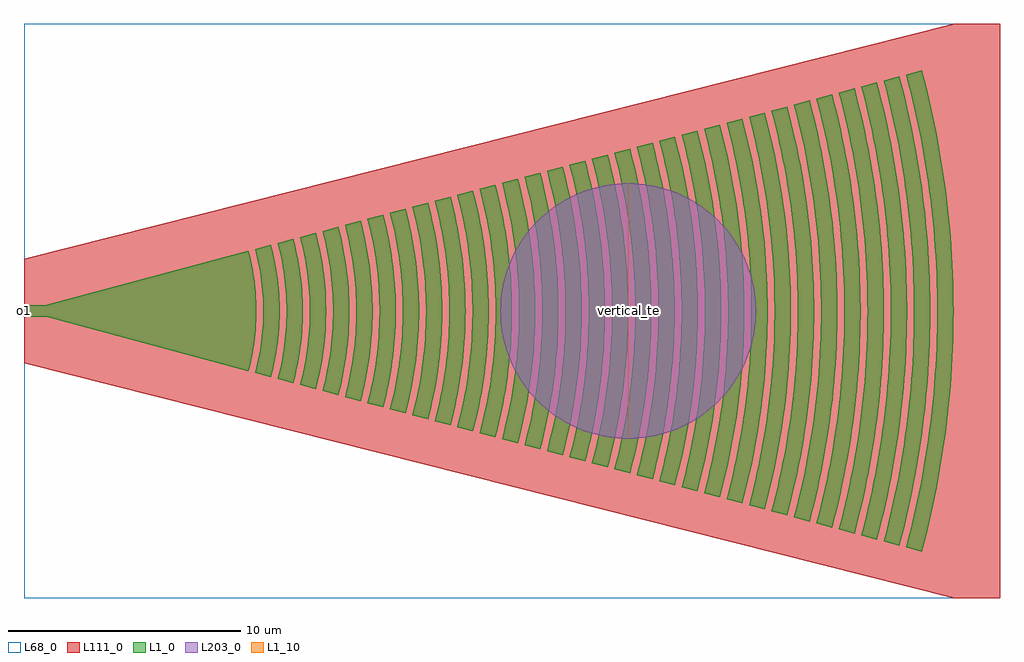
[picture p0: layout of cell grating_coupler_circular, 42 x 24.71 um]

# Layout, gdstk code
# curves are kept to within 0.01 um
import gdstk
lib = gdstk.Library(unit=1e-6, precision=1e-09)
def R(c, l, rs):  # rectangles x0, y0, x1, y1
    for r in rs: c.add(gdstk.rectangle(r[:2], r[2:], *l))
def P(c, l, *ps):  # polygons
    for p in ps: c.add(gdstk.Polygon(p, *l))
L1_0 = (1, 0)
L1_10 = (1, 10)
L68_0 = (68, 0)
L111_0 = (111, 0)
L203_0 = (203, 0)

circle_b065b65f = lib.new_cell('circle_b065b65f')
P(circle_b065b65f, L203_0, [(5.5,0),(5.495,0.24),(5.453,0.718),(5.37,1.19),(5.245,1.654),(5.081,2.105),(4.879,2.54),(4.639,2.955),(4.505,3.155),(4.213,3.535),(3.889,3.889),(3.535,4.213),(3.155,4.505),(2.955,4.639),(2.54,4.879),(2.105,5.081),(1.654,5.245),(1.19,5.37),(0.718,5.453),(0.24,5.495),(0,5.5),(-0.24,5.495),(-0.718,5.453),(-1.19,5.37),(-1.654,5.245),(-2.105,5.081),(-2.54,4.879),(-2.955,4.639),(-3.155,4.505),(-3.535,4.213),(-3.889,3.889),(-4.213,3.535),(-4.505,3.155),(-4.639,2.955),(-4.879,2.54),(-5.081,2.105),(-5.245,1.654),(-5.37,1.19),(-5.453,0.718),(-5.495,0.24),(-5.5,0),(-5.495,-0.24),(-5.453,-0.718),(-5.37,-1.19),(-5.245,-1.654),(-5.081,-2.105),(-4.879,-2.54),(-4.639,-2.955),(-4.505,-3.155),(-4.213,-3.535),(-3.889,-3.889),(-3.535,-4.213),(-3.155,-4.505),(-2.955,-4.639),(-2.54,-4.879),(-2.105,-5.081),(-1.654,-5.245),(-1.19,-5.37),(-0.718,-5.453),(-0.24,-5.495),(0,-5.5),(0.24,-5.495),(0.718,-5.453),(1.19,-5.37),(1.654,-5.245),(2.105,-5.081),(2.54,-4.879),(2.955,-4.639),(3.155,-4.505),(3.535,-4.213),(3.889,-3.889),(4.213,-3.535),(4.505,-3.155),(4.639,-2.955),(4.879,-2.54),(5.081,-2.105),(5.245,-1.654),(5.37,-1.19),(5.453,-0.718),(5.495,-0.24)])

grating_coupler_circular = lib.new_cell('grating_coupler_circular')
R(grating_coupler_circular, L1_0, [(0,-0.25,1.033,0.25)])
P(grating_coupler_circular, L1_0, [(10.625,-2.847),(10.773,-2.224),(10.913,-1.383),(10.975,-0.746),(10.999,-0.107),(10.975,0.746),(10.913,1.383),(10.773,2.224),(10.625,2.847),(9.949,2.666),(10.087,2.083),(10.191,1.493),(10.261,0.898),(10.3,0.1),(10.288,-0.499),(10.218,-1.295),(10.126,-1.887),(9.949,-2.666)],
  [(11.591,-3.106),(11.791,-2.231),(11.897,-1.566),(11.981,-0.673),(12,0),(11.981,0.673),(11.897,1.566),(11.791,2.231),(11.591,3.106),(10.915,2.925),(11.062,2.308),(11.203,1.475),(11.282,0.634),(11.3,0),(11.282,-0.634),(11.203,-1.475),(11.062,-2.308),(10.915,-2.925)],
  [(12.557,-3.365),(12.721,-2.68),(12.881,-1.755),(12.974,-0.821),(12.999,-0.117),(12.987,0.587),(12.911,1.522),(12.767,2.45),(12.557,3.365),(11.881,3.183),(12.08,2.318),(12.187,1.661),(12.275,0.777),(12.299,0.111),(12.275,-0.777),(12.187,-1.661),(12.08,-2.318),(11.881,-3.183)],
  [(13.523,-3.623),(13.743,-2.671),(13.896,-1.706),(13.981,-0.733),(14,0),(13.981,0.733),(13.896,1.706),(13.743,2.671),(13.523,3.623),(12.847,3.442),(13.056,2.538),(13.171,1.851),(13.268,0.928),(13.3,0),(13.268,-0.928),(13.171,-1.851),(13.056,-2.538),(12.847,-3.442)],
  [(14.489,-3.882),(14.712,-2.926),(14.872,-1.958),(14.968,-0.981),(15,0),(14.968,0.981),(14.872,1.958),(14.712,2.926),(14.489,3.882),(13.813,3.701),(14.025,2.79),(14.178,1.867),(14.269,0.935),(14.3,0),(14.269,-0.935),(14.178,-1.867),(14.025,-2.79),(13.813,-3.701)],
  [(15.455,-4.141),(15.686,-3.153),(15.855,-2.151),(15.959,-1.141),(15.999,-0.127),(15.975,0.888),(15.887,1.9),(15.819,2.403),(15.686,3.153),(15.455,4.141),(14.779,3.96),(15,3.015),(15.161,2.057),(15.261,1.091),(15.3,0.121),(15.276,-0.849),(15.192,-1.816),(15.127,-2.297),(15,-3.015),(14.779,-3.96)],
  [(16.421,-4.4),(16.66,-3.381),(16.837,-2.349),(16.95,-1.308),(16.992,-0.524),(17,0),(16.992,0.524),(16.95,1.308),(16.837,2.349),(16.66,3.381),(16.421,4.4),(15.745,4.219),(15.974,3.241),(16.144,2.252),(16.252,1.254),(16.283,0.753),(16.3,0),(16.283,-0.753),(16.252,-1.254),(16.144,-2.252),(15.974,-3.241),(15.745,-4.219)],
  [(17.387,-4.659),(17.634,-3.611),(17.819,-2.55),(17.915,-1.748),(17.959,-1.211),(17.999,-0.135),(17.995,0.404),(17.959,1.211),(17.855,2.283),(17.734,3.081),(17.634,3.611),(17.387,4.659),(16.711,4.478),(16.948,3.47),(17.126,2.45),(17.218,1.68),(17.261,1.164),(17.3,0.129),(17.296,-0.388),(17.261,-1.164),(17.16,-2.194),(16.998,-3.216),(16.895,-3.723),(16.711,-4.478)],
  [(18.353,-4.918),(18.55,-4.112),(18.661,-3.571),(18.837,-2.48),(18.95,-1.381),(18.992,-0.553),(19,0),(18.992,0.553),(18.95,1.381),(18.837,2.48),(18.661,3.571),(18.55,4.112),(18.353,4.918),(17.676,4.736),(17.807,4.22),(17.974,3.44),(18.143,2.389),(18.252,1.33),(18.283,0.798),(18.3,0),(18.283,-0.798),(18.252,-1.33),(18.143,-2.389),(17.974,-3.44),(17.807,-4.22),(17.676,-4.736)],
  [(19.319,-5.176),(19.521,-4.352),(19.636,-3.798),(19.82,-2.681),(19.915,-1.837),(19.959,-1.273),(19.999,-0.142),(19.995,0.425),(19.959,1.273),(19.915,1.837),(19.82,2.681),(19.636,3.798),(19.521,4.352),(19.319,5.176),(18.642,4.995),(18.838,4.2),(18.949,3.665),(19.126,2.587),(19.242,1.501),(19.288,0.683),(19.3,0.137),(19.296,-0.41),(19.261,-1.228),(19.161,-2.316),(19.045,-3.127),(18.949,-3.665),(18.838,-4.2),(18.642,-4.995)],
  [(20.284,-5.435),(20.497,-4.569),(20.618,-3.988),(20.811,-2.815),(20.882,-2.225),(20.957,-1.336),(20.999,-0.149),(20.987,0.743),(20.957,1.336),(20.882,2.225),(20.811,2.815),(20.618,3.988),(20.497,4.569),(20.284,5.435),(19.608,5.254),(19.814,4.417),(19.931,3.855),(20.117,2.721),(20.239,1.578),(20.275,1.005),(20.299,0.144),(20.295,-0.431),(20.259,-1.292),(20.186,-2.15),(20.117,-2.721),(19.931,-3.855),(19.814,-4.417),(19.608,-5.254)],
  [(21.25,-5.694),(21.468,-4.811),(21.592,-4.218),(21.748,-3.322),(21.831,-2.721),(21.898,-2.119),(21.967,-1.212),(22,0),(21.967,1.212),(21.898,2.119),(21.831,2.721),(21.748,3.322),(21.592,4.218),(21.468,4.811),(21.25,5.694),(20.574,5.513),(20.847,4.371),(20.959,3.795),(21.098,2.926),(21.171,2.343),(21.249,1.466),(21.282,0.88),(21.3,0),(21.282,-0.88),(21.249,-1.466),(21.171,-2.343),(21.098,-2.926),(20.959,-3.795),(20.847,-4.371),(20.574,-5.513)],
  [(22.216,-5.953),(22.368,-5.354),(22.566,-4.449),(22.772,-3.232),(22.884,-2.312),(22.937,-1.697),(22.975,-1.08),(22.999,-0.154),(22.987,0.772),(22.958,1.389),(22.884,2.312),(22.813,2.926),(22.677,3.842),(22.566,4.449),(22.368,5.354),(22.216,5.953),(21.54,5.772),(21.755,4.9),(21.879,4.314),(21.987,3.725),(22.119,2.837),(22.239,1.645),(22.275,1.047),(22.299,0.15),(22.295,-0.449),(22.259,-1.346),(22.215,-1.944),(22.119,-2.837),(21.987,-3.725),(21.879,-4.314),(21.755,-4.9),(21.54,-5.772)],
  [(23.182,-6.212),(23.337,-5.603),(23.539,-4.682),(23.705,-3.754),(23.795,-3.133),(23.869,-2.509),(23.949,-1.57),(23.992,-0.628),(24,0),(23.992,0.628),(23.949,1.57),(23.869,2.509),(23.795,3.133),(23.705,3.754),(23.539,4.682),(23.337,5.603),(23.182,6.212),(22.506,6.03),(22.656,5.439),(22.852,4.546),(23.013,3.645),(23.101,3.041),(23.202,2.132),(23.25,1.524),(23.282,0.915),(23.3,0),(23.282,-0.915),(23.25,-1.524),(23.202,-2.132),(23.101,-3.041),(23.013,-3.645),(22.852,-4.546),(22.656,-5.439),(22.506,-6.03)],
  [(24.148,-6.47),(24.306,-5.852),(24.512,-4.916),(24.682,-3.974),(24.776,-3.342),(24.853,-2.708),(24.938,-1.755),(24.975,-1.117),(24.999,-0.16),(24.995,0.479),(24.959,1.436),(24.885,2.391),(24.776,3.342),(24.682,3.974),(24.512,4.916),(24.306,5.852),(24.148,6.47),(23.472,6.289),(23.696,5.386),(23.825,4.779),(23.94,4.169),(24.082,3.249),(24.189,2.324),(24.24,1.705),(24.276,1.086),(24.3,0.155),(24.288,-0.776),(24.26,-1.396),(24.189,-2.324),(24.082,-3.249),(23.94,-4.169),(23.825,-4.779),(23.696,-5.386),(23.472,-6.289)],
  [(25.114,-6.729),(25.348,-5.786),(25.484,-5.152),(25.605,-4.515),(25.756,-3.554),(25.871,-2.589),(25.95,-1.62),(25.982,-0.972),(26,0),(25.992,0.648),(25.95,1.62),(25.871,2.589),(25.756,3.554),(25.605,4.515),(25.484,5.152),(25.348,5.786),(25.114,6.729),(24.438,6.548),(24.666,5.63),(24.859,4.704),(25.017,3.771),(25.104,3.146),(25.204,2.205),(25.251,1.576),(25.292,0.631),(25.3,0),(25.292,-0.631),(25.251,-1.576),(25.204,-2.205),(25.104,-3.146),(25.017,-3.771),(24.859,-4.704),(24.666,-5.63),(24.438,-6.548)],
  [(26.08,-6.988),(26.318,-6.031),(26.521,-5.066),(26.688,-4.094),(26.78,-3.443),(26.856,-2.79),(26.939,-1.807),(26.987,-0.822),(26.999,-0.164),(26.987,0.822),(26.959,1.479),(26.887,2.462),(26.78,3.443),(26.688,4.094),(26.521,5.066),(26.318,6.031),(26.08,6.988),(25.404,6.807),(25.636,5.875),(25.771,5.249),(25.891,4.62),(26.043,3.671),(26.124,3.036),(26.218,2.079),(26.276,1.121),(26.3,0.16),(26.296,-0.48),(26.261,-1.44),(26.19,-2.399),(26.085,-3.353),(25.945,-4.304),(25.771,-5.249),(25.636,-5.875),(25.404,-6.807)],
  [(27.046,-7.247),(27.293,-6.254),(27.437,-5.588),(27.623,-4.582),(27.726,-3.908),(27.85,-2.893),(27.937,-1.874),(27.975,-1.193),(27.999,-0.17),(27.987,0.852),(27.958,1.533),(27.883,2.554),(27.771,3.57),(27.623,4.582),(27.437,5.588),(27.293,6.254),(27.046,7.247),(26.37,7.066),(26.534,6.422),(26.751,5.448),(26.876,4.795),(27.033,3.81),(27.118,3.151),(27.215,2.159),(27.275,1.163),(27.299,0.166),(27.287,-0.831),(27.239,-1.827),(27.154,-2.821),(27.077,-3.481),(26.932,-4.468),(26.751,-5.448),(26.534,-6.422),(26.37,-7.066)],
  [(28.012,-7.506),(28.183,-6.837),(28.409,-5.827),(28.598,-4.809),(28.752,-3.785),(28.869,-2.757),(28.949,-1.724),(28.982,-1.035),(29,0),(28.982,1.035),(28.949,1.724),(28.869,2.757),(28.752,3.785),(28.598,4.809),(28.409,5.827),(28.183,6.837),(28.012,7.506),(27.336,7.325),(27.58,6.344),(27.789,5.356),(27.962,4.361),(28.058,3.694),(28.138,3.025),(28.228,2.019),(28.282,1.01),(28.3,0),(28.282,-1.01),(28.228,-2.019),(28.172,-2.69),(28.058,-3.694),(27.962,-4.361),(27.789,-5.356),(27.58,-6.344),(27.336,-7.325)],
  [(28.978,-7.765),(29.231,-6.749),(29.449,-5.724),(29.631,-4.693),(29.732,-4.002),(29.853,-2.962),(29.939,-1.919),(29.987,-0.873),(29.999,-0.175),(29.987,0.873),(29.939,1.919),(29.853,2.962),(29.732,4.002),(29.631,4.693),(29.449,5.724),(29.231,6.749),(28.978,7.765),(28.302,7.583),(28.549,6.591),(28.695,5.925),(28.825,5.256),(28.991,4.247),(29.082,3.571),(29.189,2.554),(29.276,1.193),(29.3,0.17),(29.288,-0.852),(29.24,-1.874),(29.121,-3.232),(28.991,-4.247),(28.762,-5.591),(28.549,-6.591),(28.302,-7.583)],
  [(29.944,-8.023),(30.119,-7.34),(30.352,-6.307),(30.549,-5.267),(30.711,-4.221),(30.837,-3.17),(30.928,-2.116),(30.982,-1.058),(31,0),(30.982,1.058),(30.928,2.116),(30.837,3.17),(30.711,4.221),(30.549,5.267),(30.352,6.307),(30.119,7.34),(29.944,8.023),(29.268,7.842),(29.518,6.838),(29.666,6.165),(29.799,5.488),(29.969,4.467),(30.141,3.099),(30.204,2.412),(30.269,1.379),(30.3,0),(30.282,-1.034),(30.204,-2.412),(30.104,-3.441),(29.969,-4.467),(29.799,-5.488),(29.594,-6.502),(29.268,-7.842)],
  [(30.91,-8.282),(31.09,-7.576),(31.331,-6.511),(31.535,-5.437),(31.702,-4.357),(31.832,-3.272),(31.925,-2.184),(31.981,-1.093),(32,0),(31.981,1.093),(31.925,2.184),(31.832,3.272),(31.702,4.357),(31.535,5.437),(31.331,6.511),(31.09,7.576),(30.91,8.282),(30.233,8.101),(30.41,7.411),(30.645,6.368),(30.845,5.318),(30.958,4.615),(31.136,3.201),(31.201,2.491),(31.268,1.425),(31.3,0),(31.282,-1.069),(31.227,-2.136),(31.136,-3.201),(30.958,-4.615),(30.782,-5.669),(30.571,-6.717),(30.233,-8.101)],
  [(31.876,-8.541),(32.058,-7.829),(32.302,-6.753),(32.509,-5.67),(32.681,-4.581),(32.815,-3.486),(32.914,-2.388),(32.975,-1.286),(32.999,-0.184),(32.987,0.919),(32.938,2.021),(32.852,3.12),(32.73,4.216),(32.57,5.308),(32.375,6.393),(32.143,7.471),(31.876,8.541),(31.199,8.36),(31.378,7.663),(31.616,6.61),(31.82,5.55),(31.935,4.839),(32.035,4.127),(32.155,3.054),(32.215,2.337),(32.275,1.259),(32.299,0.18),(32.275,-1.259),(32.187,-2.696),(32.079,-3.77),(31.935,-4.839),(31.756,-5.904),(31.541,-6.962),(31.199,-8.36)],
  [(32.841,-8.8),(33.112,-7.721),(33.347,-6.633),(33.546,-5.538),(33.709,-4.438),(33.836,-3.333),(33.927,-2.224),(33.982,-1.112),(34,0),(33.982,1.112),(33.927,2.224),(33.836,3.333),(33.709,4.438),(33.546,5.538),(33.347,6.633),(33.112,7.721),(32.841,8.8),(32.165,8.619),(32.346,7.915),(32.587,6.852),(32.729,6.14),(32.912,5.066),(33.061,3.986),(33.14,3.264),(33.229,2.178),(33.268,1.453),(33.3,0),(33.282,-1.09),(33.229,-2.178),(33.102,-3.625),(32.966,-4.706),(32.729,-6.14),(32.511,-7.207),(32.165,-8.619)],
  [(33.807,-9.059),(34.086,-7.948),(34.327,-6.828),(34.533,-5.701),(34.701,-4.568),(34.831,-3.431),(34.925,-2.289),(34.981,-1.145),(35,0),(34.981,1.145),(34.925,2.289),(34.831,3.431),(34.701,4.568),(34.533,5.701),(34.327,6.828),(34.086,7.948),(33.807,9.059),(33.131,8.877),(33.404,7.789),(33.641,6.692),(33.779,5.956),(33.956,4.848),(34.096,3.734),(34.169,2.989),(34.227,2.243),(34.282,1.122),(34.3,0),(34.282,-1.122),(34.227,-2.243),(34.096,-3.734),(33.956,-4.848),(33.712,-6.324),(33.404,-7.789),(33.131,-8.877)],
  [(34.773,-9.317),(35.054,-8.198),(35.299,-7.07),(35.507,-5.935),(35.679,-4.794),(35.815,-3.648),(35.913,-2.498),(35.975,-1.346),(35.999,-0.192),(35.987,0.962),(35.938,2.115),(35.852,3.265),(35.729,4.413),(35.569,5.556),(35.299,7.07),(35.054,8.198),(34.773,9.317),(34.097,9.136),(34.285,8.406),(34.536,7.302),(34.685,6.563),(34.877,5.448),(34.986,4.701),(35.118,3.577),(35.215,2.45),(35.275,1.32),(35.299,0.189),(35.275,-1.32),(35.187,-2.826),(35.078,-3.952),(34.877,-5.448),(34.685,-6.563),(34.372,-8.039),(34.097,-9.136)],
  [(35.739,-9.576),(36.022,-8.449),(36.27,-7.313),(36.482,-6.17),(36.658,-5.021),(36.797,-3.868),(36.901,-2.71),(36.968,-1.549),(37,0),(36.968,1.549),(36.901,2.71),(36.797,3.868),(36.658,5.021),(36.482,6.17),(36.27,7.313),(36.022,8.449),(35.739,9.576),(35.063,9.395),(35.341,8.289),(35.507,7.547),(35.726,6.428),(35.911,5.303),(36.059,4.172),(36.173,3.038),(36.25,1.9),(36.282,1.14),(36.3,0),(36.268,-1.52),(36.203,-2.659),(36.059,-4.172),(35.911,-5.303),(35.657,-6.802),(35.426,-7.919),(35.063,-9.395)],
  [(36.705,-9.835),(36.991,-8.7),(37.317,-7.174),(37.52,-6.022),(37.688,-4.863),(37.819,-3.7),(37.915,-2.534),(37.975,-1.365),(37.999,-0.195),(37.987,0.975),(37.939,2.145),(37.855,3.312),(37.688,4.863),(37.52,6.022),(37.317,7.174),(36.991,8.7),(36.705,9.835),(36.029,9.654),(36.22,8.912),(36.477,7.793),(36.7,6.666),(36.887,5.532),(36.993,4.774),(37.123,3.632),(37.217,2.487),(37.276,1.34),(37.3,0.191),(37.276,-1.34),(37.189,-2.869),(37.04,-4.394),(36.829,-5.911),(36.629,-7.042),(36.395,-8.167),(36.029,-9.654)],
  [(37.671,-10.094),(37.964,-8.929),(38.221,-7.756),(38.442,-6.575),(38.626,-5.388),(38.815,-3.798),(38.913,-2.601),(38.975,-1.401),(38.999,-0.2),(38.987,1.001),(38.938,2.201),(38.815,3.798),(38.679,4.991),(38.507,6.18),(38.299,7.363),(38.054,8.539),(37.671,10.094),(36.995,9.913),(37.283,8.769),(37.535,7.617),(37.752,6.457),(37.876,5.681),(37.985,4.902),(38.118,3.73),(38.215,2.554),(38.275,1.376),(38.299,0.197),(38.275,-1.376),(38.187,-2.946),(38.078,-4.121),(37.876,-5.681),(37.611,-7.231),(37.371,-8.386),(36.995,-9.913)],
  [(38.637,-10.353),(38.932,-9.181),(39.192,-8.001),(39.482,-6.416),(39.658,-5.221),(39.797,-4.021),(39.901,-2.817),(39.968,-1.611),(40,0),(39.968,1.611),(39.901,2.817),(39.797,4.021),(39.658,5.221),(39.482,6.416),(39.192,8.001),(38.932,9.181),(38.637,10.353),(37.961,10.172),(38.251,9.02),(38.425,8.248),(38.656,7.084),(38.853,5.913),(39.013,4.737),(39.139,3.557),(39.228,2.373),(39.282,1.187),(39.298,-0.396),(39.268,-1.582),(39.173,-3.162),(39.059,-4.344),(38.853,-5.913),(38.583,-7.473),(38.34,-8.635),(37.961,-10.172)],
  [(0,0),(9.659,-2.588),(9.756,-2.197),(9.871,-1.604),(9.927,-1.205),(9.982,-0.604),(10,0),(9.982,0.604),(9.927,1.205),(9.871,1.604),(9.756,2.197),(9.659,2.588)])
R(grating_coupler_circular, L68_0, [(0,-12.353,42,12.353)])
R(grating_coupler_circular, L111_0, [(40,-12.353,42,12.353)])
P(grating_coupler_circular, L111_0, [(0,2.25),(0,-2.25),(40,-12.353),(40,12.353)])
grating_coupler_circular.add(gdstk.FlexPath([(0.001,0),(-0.001,0)], 0.5, ends="flush", simple_path=True, layer=1, datatype=10))  # L1_10
grating_coupler_circular.add(gdstk.FlexPath([(25.999,0),(26.001,0)], 11, ends="flush", simple_path=True, layer=1, datatype=10))  # L1_10
grating_coupler_circular.add(gdstk.Reference(circle_b065b65f, (26,0)))
grating_coupler_circular.add(gdstk.Label('o1', (0,0), layer=1, texttype=10))
grating_coupler_circular.add(gdstk.Label('vertical_te', (26,0), layer=1, texttype=10))

lib.write_gds('grating_coupler_circular.gds')
